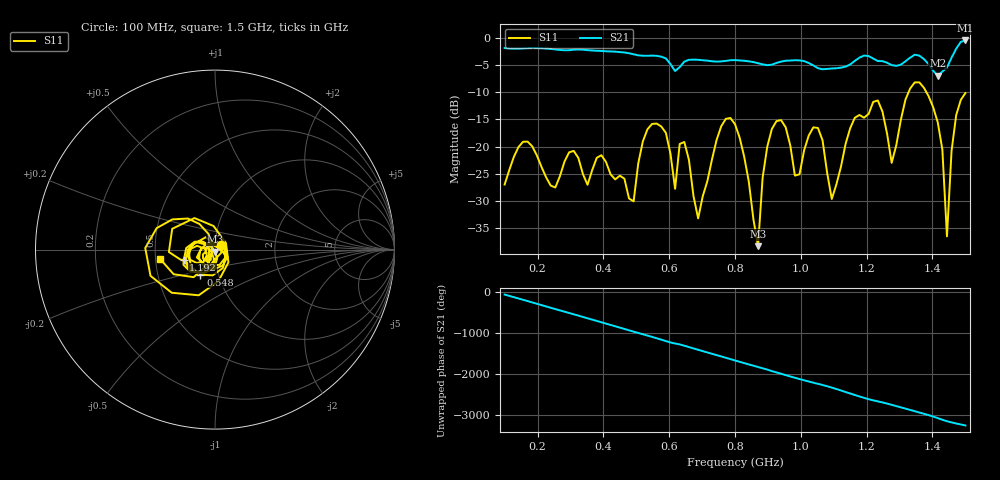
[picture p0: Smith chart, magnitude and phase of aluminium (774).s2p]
! NanoVNA-App
! Date: 2025-09-25 15:01:18
! Start: 100MHz Stop: 1,5GHz Points: 101
! S-Parameter data: F S11 S21 S12 S22
# Hz S RI R 50
!  Frequency  S11_Real  S11_Imag  S21_Real  S21_Imag  S12_Real  S12_Imag  S22_Real  S22_Imag
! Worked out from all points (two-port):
!   101 points, 100 MHz to 1.5 GHz, reference 50 ohm
!   highest |S21| = -0.52 dB at 1.5 GHz (marker M1); lowest = -7.0 dB at 1.416 GHz (marker M2)
!   |S21| within 3 dB of the highest: start of sweep to 577 MHz; 1.459 GHz to end of sweep (the widest 2 of 4)
!   lowest |S11| = -38.3 dB at 870 MHz (marker M3), VSWR 1.02, Z = 50.1 - j1.22 ohm
!   |S11| at or under -10 dB: start of sweep to 1.328 GHz; 1.381 GHz to end of sweep
!   S12 and S22 are empty: the file has one direction only
!   S11 on the Smith chart (normalised r, x): 100 MHz: 1.07, +0.06; 548 MHz: 0.82, -0.23; 1.192 GHz: 0.70, -0.08; 1.5 GHz: 0.53, -0.06
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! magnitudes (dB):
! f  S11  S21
! 100 MHz  -27.0  -1.9
! 156 MHz  -19.1  -2.0
! 338 MHz  -25.0  -2.2
! 492 MHz  -30.0  -3.1
! 548 MHz  -15.8  -3.3
! 576 MHz  -16.3  -3.5
! 618 MHz  -27.7  -6.1
! 646 MHz  -19.2  -4.4
! 688 MHz  -33.2  -4.1
! 800 MHz  -15.9  -4.1
! 870 MHz  -38.3  -4.7
! 912 MHz  -16.8  -5.0
! 982 MHz  -25.3  -4.2
! 1.038 GHz  -16.5  -5.1
! 1.094 GHz  -29.6  -5.7
! 1.192 GHz  -14.7  -3.3
! 1.276 GHz  -23.0  -5.0
! 1.346 GHz  -8.2  -3.1
! 1.416 GHz  -15.5  -7.0
! 1.444 GHz  -36.5  -5.5
! 1.458 GHz  -20.8  -3.7
! 1.5 GHz  -10.2  -0.5
